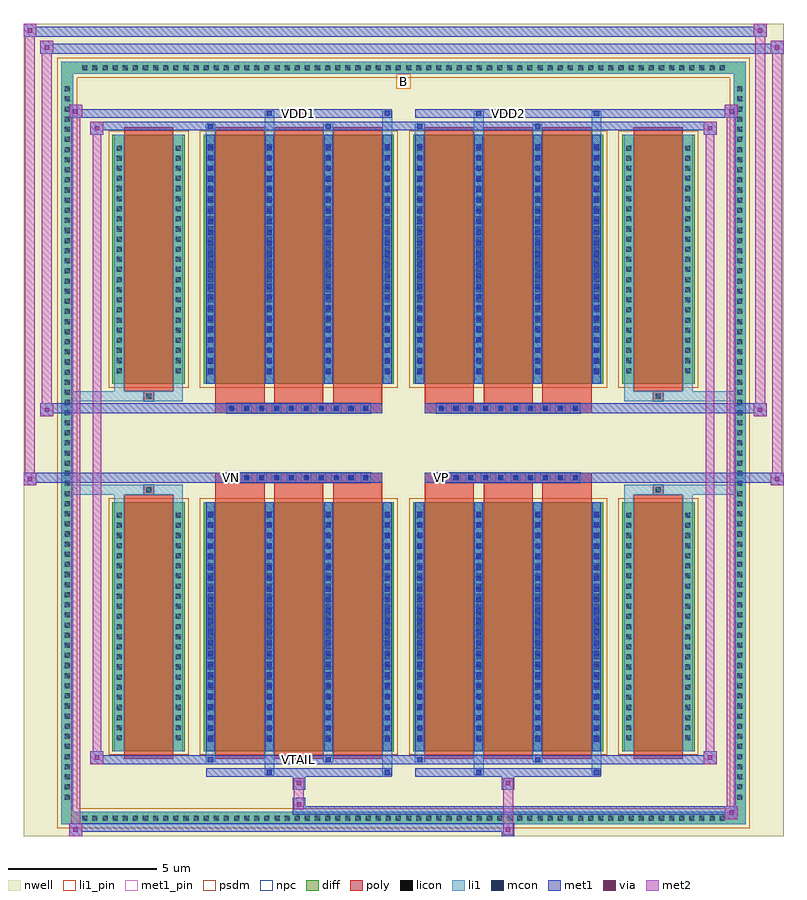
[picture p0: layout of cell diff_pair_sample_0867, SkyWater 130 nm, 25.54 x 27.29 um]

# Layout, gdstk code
import gdstk
lib = gdstk.Library(unit=1e-6, precision=5e-09)
def R(c, l, rs):  # rectangles x0, y0, x1, y1
    for r in rs: c.add(gdstk.rectangle(r[:2], r[2:], *l))
def A(c, l, x, y, w, h, nx, ny, dx, dy):  # array of equal rectangles
    R(c, l, [(x+i*dx, y+j*dy, x+i*dx+w, y+j*dy+h) for i in range(nx) for j in range(ny)])
def P(c, l, *ps):  # polygons
    for p in ps: c.add(gdstk.Polygon(p, *l))
nwell = (64, 20)
diff = (65, 20)
poly = (66, 20)
licon = (66, 44)
li1_pin = (67, 16)
li1 = (67, 20)
mcon = (67, 44)
met1_pin = (68, 16)
met1 = (68, 20)
via = (68, 44)
met2 = (69, 20)
psdm = (94, 20)
npc = (95, 20)

diff_pair_sample_0867 = lib.new_cell('diff_pair_sample_0867')
R(diff_pair_sample_0867, nwell, [(-12.77,-13.21,12.77,14.08), (-10.09,-11.4,-0.01,-0.8), (0.01,-11.4,10.09,-0.8), (-10.09,0.8,-0.01,11.4), (0.01,0.8,10.09,11.4)])
A(diff_pair_sample_0867, diff, -10.915, -12.81, 0.41, 0.41, 64, 2, 0.34, 25.21)
A(diff_pair_sample_0867, diff, -11.5, -12.105, 0.41, 0.41, 1, 71, 0, 0.34)
A(diff_pair_sample_0867, diff, 11.09, -12.105, 0.41, 0.41, 1, 71, 0, 0.34)
R(diff_pair_sample_0867, diff, [(-10.915,-12.81,10.915,-12.4), (-11.5,-12.105,-11.09,12.105), (11.09,-12.105,11.5,12.105), (-9.78,-10.355,-7.35,-1.985), (-6.71,-10.355,-0.32,-1.985), (0.32,-10.355,6.71,-1.985), (7.35,-10.355,9.78,-1.985), (-9.78,1.985,-7.35,10.355), (-6.71,1.985,-0.32,10.355), (0.32,1.985,6.71,10.355), (7.35,1.985,9.78,10.355), (-10.915,12.4,10.915,12.81)])
P(diff_pair_sample_0867, diff, [(11.5,12.81),(-11.5,12.81),(-11.5,-12.4),(-11.09,-12.4),(-11.09,12.4),(11.09,12.4),(11.09,-12.4),(-11.09,-12.4),(-11.5,-12.4),(-11.5,-12.81),(11.5,-12.81)])
A(diff_pair_sample_0867, poly, -6.32, -10.605, 1.65, 8.87, 3, 2, 1.98, 12.34)
A(diff_pair_sample_0867, poly, 0.71, -10.605, 1.65, 8.87, 3, 2, 1.98, 12.34)
A(diff_pair_sample_0867, poly, -6.32, -1.735, 1.65, 0.405, 3, 2, 1.98, 3.065)
A(diff_pair_sample_0867, poly, 0.71, -1.735, 1.65, 0.405, 3, 2, 1.98, 3.065)
A(diff_pair_sample_0867, poly, -5.93, -1.33, 0.33, 0.33, 10, 2, 0.5, 2.33)
A(diff_pair_sample_0867, poly, 1.1, -1.33, 0.33, 0.33, 10, 2, 0.5, 2.33)
R(diff_pair_sample_0867, poly, [(-9.39,-10.605,-7.74,-1.735), (7.74,-10.605,9.39,-1.735), (-8.73,-1.735,-8.4,-1.405), (-8.73,-1.735,-8.4,-1.405), (8.4,-1.735,8.73,-1.405), (8.4,-1.735,8.73,-1.405), (-6.32,-1.33,-0.71,-1), (0.71,-1.33,6.32,-1), (-6.32,1,-0.71,1.33), (0.71,1,6.32,1.33), (-8.73,1.405,-8.4,1.735), (-8.73,1.405,-8.4,1.735), (8.4,1.405,8.73,1.735), (8.4,1.405,8.73,1.735), (-9.39,1.735,-7.74,10.605), (7.74,1.735,9.39,10.605)])
A(diff_pair_sample_0867, licon, -10.795, -12.69, 0.17, 0.17, 64, 2, 0.34, 25.21)
A(diff_pair_sample_0867, licon, -11.38, -11.985, 0.17, 0.17, 1, 71, 0, 0.34)
A(diff_pair_sample_0867, licon, 11.21, -11.985, 0.17, 0.17, 1, 71, 0, 0.34)
A(diff_pair_sample_0867, licon, -9.64, -9.995, 0.17, 0.17, 1, 23, 0, 0.34)
A(diff_pair_sample_0867, licon, -7.66, -9.995, 0.17, 0.17, 1, 23, 0, 0.34)
A(diff_pair_sample_0867, licon, -6.57, -9.995, 0.17, 0.17, 4, 23, 1.98, 0.34)
A(diff_pair_sample_0867, licon, 0.46, -9.995, 0.17, 0.17, 4, 23, 1.98, 0.34)
A(diff_pair_sample_0867, licon, 7.49, -9.995, 0.17, 0.17, 1, 23, 0, 0.34)
A(diff_pair_sample_0867, licon, 9.47, -9.995, 0.17, 0.17, 1, 23, 0, 0.34)
A(diff_pair_sample_0867, licon, -5.85, -1.25, 0.17, 0.17, 10, 2, 0.5, 2.33)
A(diff_pair_sample_0867, licon, 1.18, -1.25, 0.17, 0.17, 10, 2, 0.5, 2.33)
A(diff_pair_sample_0867, licon, -9.64, 2.345, 0.17, 0.17, 1, 23, 0, 0.34)
A(diff_pair_sample_0867, licon, -7.66, 2.345, 0.17, 0.17, 1, 23, 0, 0.34)
A(diff_pair_sample_0867, licon, -6.57, 2.345, 0.17, 0.17, 4, 23, 1.98, 0.34)
A(diff_pair_sample_0867, licon, 0.46, 2.345, 0.17, 0.17, 4, 23, 1.98, 0.34)
A(diff_pair_sample_0867, licon, 7.49, 2.345, 0.17, 0.17, 1, 23, 0, 0.34)
A(diff_pair_sample_0867, licon, 9.47, 2.345, 0.17, 0.17, 1, 23, 0, 0.34)
R(diff_pair_sample_0867, licon, [(-8.65,-1.655,-8.48,-1.485), (8.48,-1.655,8.65,-1.485), (-8.65,1.485,-8.48,1.655), (8.48,1.485,8.65,1.655)])
R(diff_pair_sample_0867, li1_pin, [(-0.25,11.9,0.25,12.4)])
A(diff_pair_sample_0867, li1, -10.875, -12.77, 0.33, 0.33, 64, 2, 0.34, 25.21)
A(diff_pair_sample_0867, li1, -11.46, -12.065, 0.33, 0.33, 1, 71, 0, 0.34)
A(diff_pair_sample_0867, li1, 11.13, -12.065, 0.33, 0.33, 1, 71, 0, 0.34)
A(diff_pair_sample_0867, li1, -6.65, -10.355, 0.33, 8.37, 4, 2, 1.98, 12.34)
A(diff_pair_sample_0867, li1, 0.38, -10.355, 0.33, 8.37, 4, 2, 1.98, 12.34)
A(diff_pair_sample_0867, li1, -9.72, -10.075, 0.33, 0.33, 1, 23, 0, 0.34)
A(diff_pair_sample_0867, li1, -7.74, -10.075, 0.33, 0.33, 1, 23, 0, 0.34)
A(diff_pair_sample_0867, li1, -6.65, -10.075, 0.33, 0.33, 4, 23, 1.98, 0.34)
A(diff_pair_sample_0867, li1, 0.38, -10.075, 0.33, 0.33, 4, 23, 1.98, 0.34)
A(diff_pair_sample_0867, li1, 7.41, -10.075, 0.33, 0.33, 1, 23, 0, 0.34)
A(diff_pair_sample_0867, li1, 9.39, -10.075, 0.33, 0.33, 1, 23, 0, 0.34)
A(diff_pair_sample_0867, li1, -6.57, -10.035, 0.17, 0.17, 4, 22, 1.98, 0.36)
A(diff_pair_sample_0867, li1, -6.57, -10.035, 0.17, 7.73, 4, 2, 1.98, 12.34)
A(diff_pair_sample_0867, li1, 0.46, -10.035, 0.17, 0.17, 4, 22, 1.98, 0.36)
A(diff_pair_sample_0867, li1, 0.46, -10.035, 0.17, 7.73, 4, 2, 1.98, 12.34)
A(diff_pair_sample_0867, li1, -5.93, -1.33, 0.33, 0.33, 10, 2, 0.5, 2.33)
A(diff_pair_sample_0867, li1, 1.1, -1.33, 0.33, 0.33, 10, 2, 0.5, 2.33)
A(diff_pair_sample_0867, li1, -9.72, 2.265, 0.33, 0.33, 1, 23, 0, 0.34)
A(diff_pair_sample_0867, li1, -7.74, 2.265, 0.33, 0.33, 1, 23, 0, 0.34)
A(diff_pair_sample_0867, li1, -6.65, 2.265, 0.33, 0.33, 4, 23, 1.98, 0.34)
A(diff_pair_sample_0867, li1, 0.38, 2.265, 0.33, 0.33, 4, 23, 1.98, 0.34)
A(diff_pair_sample_0867, li1, 7.41, 2.265, 0.33, 0.33, 1, 23, 0, 0.34)
A(diff_pair_sample_0867, li1, 9.39, 2.265, 0.33, 0.33, 1, 23, 0, 0.34)
A(diff_pair_sample_0867, li1, -6.57, 2.305, 0.17, 0.17, 4, 22, 1.98, 0.36)
A(diff_pair_sample_0867, li1, 0.46, 2.305, 0.17, 0.17, 4, 22, 1.98, 0.36)
R(diff_pair_sample_0867, li1, [(-11.5,-12.81,-11.09,-12.4), (-11.5,-12.81,-11.09,-12.4), (-11.09,-12.81,11.09,-12.4), (11.09,-12.81,11.5,-12.4), (11.09,-12.81,11.5,-12.4), (-11.5,-12.4,-11.09,12.4), (11.09,-12.4,11.5,12.4), (-4.67,-11.16,-4.34,-10.355), (-4.59,-11.16,-4.42,-10.99), (-0.71,-11.16,-0.38,-10.355), (-0.63,-11.16,-0.46,-10.99), (2.36,-11.16,2.69,-10.355), (2.44,-11.16,2.61,-10.99), (6.32,-11.16,6.65,-10.355), (6.4,-11.16,6.57,-10.99), (-6.65,-10.73,-6.32,-10.355), (-6.57,-10.73,-6.4,-10.56), (-2.69,-10.73,-2.36,-10.355), (-2.61,-10.73,-2.44,-10.56), (0.38,-10.73,0.71,-10.355), (0.46,-10.73,0.63,-10.56), (4.34,-10.73,4.67,-10.355), (4.42,-10.73,4.59,-10.56), (-9.72,-10.355,-9.39,-1.985), (-7.74,-10.355,-7.41,-1.985), (7.41,-10.355,7.74,-1.985), (9.39,-10.355,9.72,-1.985), (-9.72,-1.985,-9.39,-1.405), (-7.74,-1.985,-7.41,-1.405), (7.41,-1.985,7.74,-1.405), (9.39,-1.985,9.72,-1.405), (-11.5,-1.735,-8.73,-1.405), (-9.72,-1.735,-8.73,-1.405), (-8.73,-1.735,-8.4,-1.405), (-8.4,-1.735,-7.41,-1.405), (7.41,-1.735,8.4,-1.405), (8.4,-1.735,8.73,-1.405), (8.4,-1.735,11.5,-1.405), (8.73,-1.735,9.72,-1.405), (-11.5,1.405,-8.73,1.735), (-9.72,1.405,-8.73,1.735), (-9.72,1.405,-9.39,1.985), (-8.73,1.405,-8.4,1.735), (-8.4,1.405,-7.41,1.735), (-7.74,1.405,-7.41,1.985), (7.41,1.405,8.4,1.735), (7.41,1.405,7.74,1.985), (8.4,1.405,8.73,1.735), (8.4,1.405,11.5,1.735), (8.73,1.405,9.72,1.735), (9.39,1.405,9.72,1.985), (-9.72,1.985,-9.39,10.355), (-7.74,1.985,-7.41,10.355), (7.41,1.985,7.74,10.355), (9.39,1.985,9.72,10.355), (-6.65,10.355,-6.32,10.73), (-4.67,10.355,-4.34,11.16), (-2.69,10.355,-2.36,10.73), (-0.71,10.355,-0.38,11.16), (0.38,10.355,0.71,10.73), (2.36,10.355,2.69,11.16), (4.34,10.355,4.67,10.73), (6.32,10.355,6.65,11.16), (-6.57,10.56,-6.4,10.73), (-2.61,10.56,-2.44,10.73), (0.46,10.56,0.63,10.73), (4.42,10.56,4.59,10.73), (-4.59,10.99,-4.42,11.16), (-0.63,10.99,-0.46,11.16), (2.44,10.99,2.61,11.16), (6.4,10.99,6.57,11.16), (-11.5,12.4,-11.09,12.81), (-11.5,12.4,-11.09,12.81), (-11.09,12.4,11.09,12.81), (11.09,12.4,11.5,12.81), (11.09,12.4,11.5,12.81)])
A(diff_pair_sample_0867, mcon, -6.57, -10.035, 0.17, 0.17, 4, 22, 1.98, 0.36)
A(diff_pair_sample_0867, mcon, 0.46, -10.035, 0.17, 0.17, 4, 22, 1.98, 0.36)
A(diff_pair_sample_0867, mcon, -5.85, -1.25, 0.17, 0.17, 10, 2, 0.5, 2.33)
A(diff_pair_sample_0867, mcon, 1.18, -1.25, 0.17, 0.17, 10, 2, 0.5, 2.33)
A(diff_pair_sample_0867, mcon, -6.57, 2.305, 0.17, 0.17, 4, 22, 1.98, 0.36)
A(diff_pair_sample_0867, mcon, 0.46, 2.305, 0.17, 0.17, 4, 22, 1.98, 0.36)
R(diff_pair_sample_0867, mcon, [(-4.59,-11.16,-4.42,-10.99), (-0.63,-11.16,-0.46,-10.99), (2.44,-11.16,2.61,-10.99), (6.4,-11.16,6.57,-10.99), (-6.57,-10.73,-6.4,-10.56), (-2.61,-10.73,-2.44,-10.56), (0.46,-10.73,0.63,-10.56), (4.42,-10.73,4.59,-10.56), (-6.57,10.56,-6.4,10.73), (-2.61,10.56,-2.44,10.73), (0.46,10.56,0.63,10.73), (4.42,10.56,4.59,10.73), (-4.59,10.99,-4.42,11.16), (-0.63,10.99,-0.46,11.16), (2.44,10.99,2.61,11.16), (6.4,10.99,6.57,11.16)])
R(diff_pair_sample_0867, met1_pin, [(-3.65,-10.77,-3.38,-10.5), (-5.9,-1.29,-5.63,-1.02), (1.13,-1.29,1.4,-1.02), (-3.65,10.95,-3.38,11.22), (3.38,10.95,3.65,11.22)])
A(diff_pair_sample_0867, met1, -6.63, -10.355, 0.29, 8.37, 4, 2, 1.98, 12.34)
A(diff_pair_sample_0867, met1, 0.4, -10.355, 0.29, 8.37, 4, 2, 1.98, 12.34)
A(diff_pair_sample_0867, met1, -6.63, -10.095, 0.29, 0.29, 4, 22, 1.98, 0.36)
A(diff_pair_sample_0867, met1, 0.4, -10.095, 0.29, 0.29, 4, 22, 1.98, 0.36)
A(diff_pair_sample_0867, met1, -5.91, -1.31, 0.29, 0.29, 10, 2, 0.5, 2.33)
A(diff_pair_sample_0867, met1, 1.12, -1.31, 0.29, 0.29, 10, 2, 0.5, 2.33)
A(diff_pair_sample_0867, met1, -6.63, 2.245, 0.29, 0.29, 4, 22, 1.98, 0.36)
A(diff_pair_sample_0867, met1, 0.4, 2.245, 0.29, 0.29, 4, 22, 1.98, 0.36)
R(diff_pair_sample_0867, met1, [(-11.23,-13.21,-10.8,-12.78), (3.3,-13.21,3.73,-12.78), (-11.23,-13.07,3.73,-12.78), (10.8,-12.64,11.23,-12.21), (-3.73,-12.5,11.23,-12.21), (-3.73,-12.36,-3.3,-11.93), (-3.73,-11.65,-3.3,-11.22), (3.3,-11.65,3.73,-11.22), (-6.63,-11.22,-0.4,-10.93), (-4.65,-11.22,-4.36,-10.93), (-0.69,-11.22,-0.4,-10.93), (0.4,-11.22,6.63,-10.93), (2.38,-11.22,2.67,-10.93), (6.34,-11.22,6.63,-10.93), (-10.52,-10.79,-10.09,-10.36), (-10.52,-10.79,-6.63,-10.5), (-6.63,-10.79,-6.34,-10.5), (-6.63,-10.79,-0.4,-10.5), (-2.67,-10.79,-2.38,-10.5), (-0.4,-10.79,0.4,-10.5), (0.4,-10.79,0.69,-10.5), (0.4,-10.79,6.63,-10.5), (4.36,-10.79,4.65,-10.5), (6.63,-10.79,10.52,-10.5), (10.09,-10.79,10.52,-10.36), (-12.77,-1.43,-12.34,-1), (12.34,-1.43,12.77,-1), (-12.77,-1.33,-0.71,-1), (-6.32,-1.33,-0.71,-1), (0.71,-1.33,6.32,-1), (0.71,-1.33,12.77,-1), (-12.2,0.9,-11.77,1.33), (11.77,0.9,12.2,1.33), (-12.2,1,-6.32,1.33), (-6.32,1,-0.71,1.33), (0.71,1,6.32,1.33), (6.32,1,12.2,1.33), (-10.52,10.36,-10.09,10.79), (10.09,10.36,10.52,10.79), (-10.52,10.5,-6.63,10.79), (-6.63,10.5,-6.34,10.79), (-6.63,10.5,-0.4,10.79), (-2.67,10.5,-2.38,10.79), (-0.4,10.5,0.4,10.79), (0.4,10.5,0.69,10.79), (0.4,10.5,6.63,10.79), (4.36,10.5,4.65,10.79), (6.63,10.5,10.52,10.79), (-11.23,10.93,-10.8,11.36), (-11.23,10.93,-6.63,11.22), (-6.63,10.93,-0.4,11.22), (-4.65,10.93,-4.36,11.22), (-0.69,10.93,-0.4,11.22), (0.4,10.93,6.63,11.22), (2.38,10.93,2.67,11.22), (6.34,10.93,6.63,11.22), (6.63,10.93,11.23,11.22), (10.8,10.93,11.23,11.36), (-12.2,13.08,-11.77,13.51), (-12.2,13.08,-10.09,13.41), (-10.09,13.08,10.09,13.41), (10.09,13.08,12.77,13.41), (12.34,13.08,12.77,13.51), (-12.77,13.65,-12.34,14.08), (-12.77,13.65,-10.09,13.98), (-10.09,13.65,10.09,13.98), (10.09,13.65,12.2,13.98), (11.77,13.65,12.2,14.08)])
R(diff_pair_sample_0867, via, [(-11.09,-13.07,-10.94,-12.92), (3.44,-13.07,3.59,-12.92), (10.94,-12.5,11.09,-12.35), (-3.59,-12.22,-3.44,-12.07), (-3.59,-11.51,-3.44,-11.36), (3.44,-11.51,3.59,-11.36), (-10.38,-10.65,-10.23,-10.5), (10.23,-10.65,10.38,-10.5), (-12.63,-1.29,-12.48,-1.14), (12.48,-1.29,12.63,-1.14), (-12.06,1.04,-11.91,1.19), (11.91,1.04,12.06,1.19), (-10.38,10.5,-10.23,10.65), (10.23,10.5,10.38,10.65), (-11.09,11.07,-10.94,11.22), (10.94,11.07,11.09,11.22), (-12.06,13.22,-11.91,13.37), (12.48,13.22,12.63,13.37), (-12.63,13.79,-12.48,13.94), (11.91,13.79,12.06,13.94)])
R(diff_pair_sample_0867, met2, [(-11.23,-13.21,-10.8,-12.78), (-11.16,-13.21,-10.87,11.36), (-10.87,-13.21,-10.8,-12.78), (-11.18,-13.16,-10.85,-12.83), (3.35,-13.16,3.68,-12.83), (3.35,-12.83,3.68,-11.6), (10.8,-12.64,11.23,-12.21), (10.87,-12.64,11.16,11.36), (11.16,-12.64,11.23,-12.21), (10.85,-12.59,11.18,-12.26), (-3.68,-12.31,-3.35,-11.98), (-3.68,-11.98,-3.35,-11.6), (-3.68,-11.6,-3.35,-11.27), (3.35,-11.6,3.68,-11.27), (-10.52,-10.79,-10.09,-10.36), (-10.45,-10.79,-10.16,10.79), (-10.16,-10.79,-10.09,-10.36), (10.09,-10.79,10.52,-10.36), (10.16,-10.79,10.45,10.79), (10.45,-10.79,10.52,-10.36), (-10.47,-10.74,-10.14,-10.41), (10.14,-10.74,10.47,-10.41), (-12.77,-1.43,-12.34,-1), (-12.72,-1.43,-12.39,14.08), (-12.39,-1.43,-12.34,-1), (12.34,-1.43,12.77,-1), (12.39,-1.43,12.72,13.51), (12.72,-1.43,12.77,-1), (-12.72,-1.38,-12.39,-1.05), (12.39,-1.38,12.72,-1.05), (-12.2,0.9,-11.77,1.33), (-12.15,0.9,-11.82,13.51), (-11.82,0.9,-11.77,1.33), (11.77,0.9,12.2,1.33), (11.82,0.9,12.15,14.08), (12.15,0.9,12.2,1.33), (-12.15,0.95,-11.82,1.28), (11.82,0.95,12.15,1.28), (-10.52,10.36,-10.09,10.79), (-10.16,10.36,-10.09,10.79), (10.09,10.36,10.52,10.79), (10.45,10.36,10.52,10.79), (-10.47,10.41,-10.14,10.74), (10.14,10.41,10.47,10.74), (-11.23,10.93,-10.8,11.36), (-10.87,10.93,-10.8,11.36), (10.8,10.93,11.23,11.36), (11.16,10.93,11.23,11.36), (-11.18,10.98,-10.85,11.31), (10.85,10.98,11.18,11.31), (-12.2,13.08,-11.77,13.51), (-11.82,13.08,-11.77,13.51), (12.34,13.08,12.77,13.51), (12.72,13.08,12.77,13.51), (-12.15,13.13,-11.82,13.46), (12.39,13.13,12.72,13.46), (-12.77,13.65,-12.34,14.08), (-12.39,13.65,-12.34,14.08), (11.77,13.65,12.2,14.08), (12.15,13.65,12.2,14.08), (-12.72,13.7,-12.39,14.03), (11.82,13.7,12.15,14.03)])
R(diff_pair_sample_0867, psdm, [(-9.91,-10.485,-7.22,-1.855), (-6.84,-10.485,-0.19,-1.855), (0.19,-10.485,6.84,-1.855), (7.22,-10.485,9.91,-1.855), (-9.91,1.855,-7.22,10.485), (-6.84,1.855,-0.19,10.485), (0.19,1.855,6.84,10.485), (7.22,1.855,9.91,10.485)])
P(diff_pair_sample_0867, psdm, [(11.63,12.94),(-11.63,12.94),(-11.63,-12.27),(-10.96,-12.27),(-10.96,12.27),(10.96,12.27),(10.96,-12.27),(-10.96,-12.27),(-11.63,-12.27),(-11.63,-12.94),(11.63,-12.94)])
A(diff_pair_sample_0867, npc, -5.95, -1.35, 0.37, 0.37, 10, 2, 0.5, 2.33)
A(diff_pair_sample_0867, npc, 1.08, -1.35, 0.37, 0.37, 10, 2, 0.5, 2.33)
R(diff_pair_sample_0867, npc, [(-8.75,-1.755,-8.38,-1.385), (8.38,-1.755,8.75,-1.385), (-5.95,-1.35,-5.08,-0.98), (-5.95,-1.35,-5.08,-0.98), (-5.45,-1.35,-4.58,-0.98), (-5.45,-1.35,-4.58,-0.98), (-4.95,-1.35,-4.08,-0.98), (-4.95,-1.35,-4.08,-0.98), (-4.45,-1.35,-3.58,-0.98), (-4.45,-1.35,-3.58,-0.98), (-3.95,-1.35,-3.08,-0.98), (-3.95,-1.35,-3.08,-0.98), (-3.45,-1.35,-2.58,-0.98), (-3.45,-1.35,-2.58,-0.98), (-2.95,-1.35,-2.08,-0.98), (-2.95,-1.35,-2.08,-0.98), (-2.45,-1.35,-1.58,-0.98), (-2.45,-1.35,-1.58,-0.98), (-1.95,-1.35,-1.08,-0.98), (-1.95,-1.35,-1.08,-0.98), (1.08,-1.35,1.95,-0.98), (1.08,-1.35,1.95,-0.98), (1.58,-1.35,2.45,-0.98), (1.58,-1.35,2.45,-0.98), (2.08,-1.35,2.95,-0.98), (2.08,-1.35,2.95,-0.98), (2.58,-1.35,3.45,-0.98), (2.58,-1.35,3.45,-0.98), (3.08,-1.35,3.95,-0.98), (3.08,-1.35,3.95,-0.98), (3.58,-1.35,4.45,-0.98), (3.58,-1.35,4.45,-0.98), (4.08,-1.35,4.95,-0.98), (4.08,-1.35,4.95,-0.98), (4.58,-1.35,5.45,-0.98), (4.58,-1.35,5.45,-0.98), (5.08,-1.35,5.95,-0.98), (5.08,-1.35,5.95,-0.98), (-5.95,0.98,-5.08,1.35), (-5.95,0.98,-5.08,1.35), (-5.45,0.98,-4.58,1.35), (-5.45,0.98,-4.58,1.35), (-4.95,0.98,-4.08,1.35), (-4.95,0.98,-4.08,1.35), (-4.45,0.98,-3.58,1.35), (-4.45,0.98,-3.58,1.35), (-3.95,0.98,-3.08,1.35), (-3.95,0.98,-3.08,1.35), (-3.45,0.98,-2.58,1.35), (-3.45,0.98,-2.58,1.35), (-2.95,0.98,-2.08,1.35), (-2.95,0.98,-2.08,1.35), (-2.45,0.98,-1.58,1.35), (-2.45,0.98,-1.58,1.35), (-1.95,0.98,-1.08,1.35), (-1.95,0.98,-1.08,1.35), (1.08,0.98,1.95,1.35), (1.08,0.98,1.95,1.35), (1.58,0.98,2.45,1.35), (1.58,0.98,2.45,1.35), (2.08,0.98,2.95,1.35), (2.08,0.98,2.95,1.35), (2.58,0.98,3.45,1.35), (2.58,0.98,3.45,1.35), (3.08,0.98,3.95,1.35), (3.08,0.98,3.95,1.35), (3.58,0.98,4.45,1.35), (3.58,0.98,4.45,1.35), (4.08,0.98,4.95,1.35), (4.08,0.98,4.95,1.35), (4.58,0.98,5.45,1.35), (4.58,0.98,5.45,1.35), (5.08,0.98,5.95,1.35), (5.08,0.98,5.95,1.35), (-8.75,1.385,-8.38,1.755), (8.38,1.385,8.75,1.755)])
diff_pair_sample_0867.add(gdstk.Label('VTAIL', (-3.515,-10.635), layer=68, texttype=5))
diff_pair_sample_0867.add(gdstk.Label('VN', (-5.765,-1.155), layer=68, texttype=5))
diff_pair_sample_0867.add(gdstk.Label('VP', (1.265,-1.155), layer=68, texttype=5))
diff_pair_sample_0867.add(gdstk.Label('B', (0,12.15), layer=67, texttype=5))
diff_pair_sample_0867.add(gdstk.Label('VDD2', (3.515,11.085), layer=68, texttype=5))
diff_pair_sample_0867.add(gdstk.Label('VDD1', (-3.515,11.085), layer=68, texttype=5))

lib.write_gds('diff_pair_sample_0867.gds')
